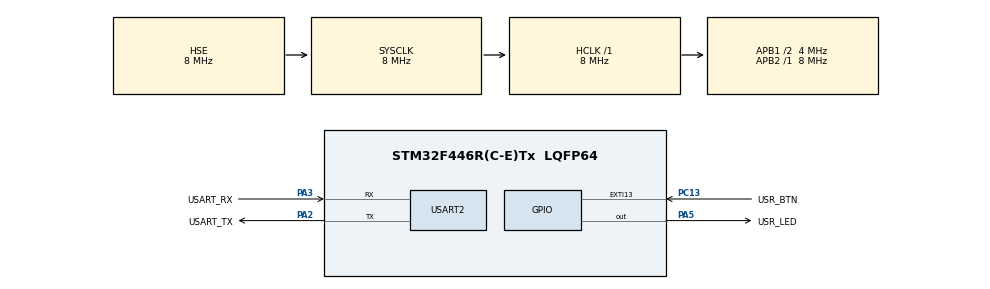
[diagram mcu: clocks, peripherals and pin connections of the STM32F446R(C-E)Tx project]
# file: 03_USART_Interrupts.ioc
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Mcu.Family=STM32F4
Mcu.Name=STM32F446R(C-E)Tx
Mcu.Package=LQFP64
NVIC.PriorityGroup=NVIC_PRIORITYGROUP_0
NVIC.USART2_IRQn=true\:0\:0\:false\:false\:true\:true\:true\:true
PA13.GPIO_Label=TMS
PA13.Mode=Serial_Wire
PA13.Signal=SYS_JTMS-SWDIO
PA14.GPIO_Label=TCK
PA14.Mode=Serial_Wire
PA14.Signal=SYS_JTCK-SWCLK
PA2.GPIO_Label=USART_TX
PA2.Mode=Asynchronous
PA2.Signal=USART2_TX
PA3.GPIO_Label=USART_RX
PA3.Mode=Asynchronous
PA3.Signal=USART2_RX
PA5.GPIO_Label=USR_LED
PA5.Signal=GPIO_Output
PB3.GPIO_Label=SWO
PB3.Signal=SYS_JTDO-SWO
PC13.GPIO_Label=USR_BTN
PC13.GPIO_ModeDefaultEXTI=GPIO_MODE_IT_FALLING
PC13.Signal=GPXTI13
PC14-OSC32_IN.Mode=LSE-External-Oscillator
PC14-OSC32_IN.Signal=RCC_OSC32_IN
PC15-OSC32_OUT.Mode=LSE-External-Oscillator
PC15-OSC32_OUT.Signal=RCC_OSC32_OUT
PH0-OSC_IN.Mode=HSE-External-Oscillator
PH0-OSC_IN.Signal=RCC_OSC_IN
PH1-OSC_OUT.Mode=HSE-External-Oscillator
PH1-OSC_OUT.Signal=RCC_OSC_OUT
ProjectManager.HeapSize=0x200
ProjectManager.StackSize=0x400
ProjectManager.TargetToolchain=STM32CubeIDE
RCC.48MHZClocksFreq_Value=84000000
RCC.AHBFreq_Value=8000000
RCC.APB1CLKDivider=RCC_HCLK_DIV2
RCC.APB1Freq_Value=4000000
RCC.APB1TimFreq_Value=8000000
RCC.APB2Freq_Value=8000000
RCC.APB2TimFreq_Value=8000000
RCC.CortexFreq_Value=8000000
RCC.EnbaleCSS=true
RCC.FLatency-AdvancedSettings=FLASH_LATENCY_0
RCC.HCLKFreq_Value=8000000
RCC.HSE_VALUE=8000000
RCC.HSI_VALUE=16000000
RCC.PLLN=336
RCC.PLLP=RCC_PLLP_DIV4
RCC.SYSCLKFreq_VALUE=8000000
RCC.SYSCLKSource=RCC_SYSCLKSOURCE_HSE
RCC.USBFreq_Value=168000000
RCC.VCOOutputFreq_Value=336000000
USART2.VirtualMode=VM_ASYNC
board=NUCLEO-F446RE

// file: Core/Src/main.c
/* USER CODE BEGIN Header */
/**
 ******************************************************************************
 * @file           : main.c
 * @brief          : Main program body
 ******************************************************************************
 * @attention
 *
 * Copyright (c) 2026 STMicroelectronics.
 * All rights reserved.
 *
 * This software is licensed under terms that can be found in the LICENSE file
 * in the root directory of this software component.
 * If no LICENSE file comes with this software, it is provided AS-IS.
 *
 ******************************************************************************
 *
 * Simple program to use USART to print on screen and blink LED on button press - all via interrupts
 */
/* USER CODE END Header */
#include "main.h"

UART_HandleTypeDef huart2;

/* USER CODE BEGIN PV */
int uart_ready = 0;
char name[200] = {'\0'};
/* USER CODE END PV */

void SystemClock_Config(void);
static void MX_GPIO_Init(void);
static void MX_USART2_UART_Init(void);
/* USER CODE BEGIN PFP */
int get_name(char *prompt, char *name);
void print_message(char *name);

/* USER CODE END PFP */

int main(void) {

	/* USER CODE BEGIN 1 */
	// The User will type in the name in the terminal (COM Port), which will then be sent over UART to STM32.
	// As soon as it detect an enter '', the name along with some greetings will be printed on the screen.
	char prompt[100] = "Name : ";
	/* USER CODE END 1 */

	/* MCU Configuration--------------------------------------------------------*/

	/* Reset of all peripherals, Initializes the Flash interface and the Systick. */
	HAL_Init();

	/* Configure the system clock */
	SystemClock_Config();

	/* Initialize all configured peripherals */
	MX_GPIO_Init();
	MX_USART2_UART_Init();

	/* Infinite loop */
	/* USER CODE BEGIN WHILE */
	while (1) {
		// Print the prompt for name and read the name
		if(get_name(prompt, name))
		{
			// Print the greetings along with the name
			print_message(name);
		}

		// Keep blinking the LED (better if done using timer interrupt)
		HAL_GPIO_TogglePin(USR_LED_GPIO_Port, USR_LED_Pin);
		HAL_Delay(5000);
		/* USER CODE END WHILE */

	}
}

void SystemClock_Config(void) {
	RCC_OscInitTypeDef RCC_OscInitStruct = { 0 };
	RCC_ClkInitTypeDef RCC_ClkInitStruct = { 0 };

	/** Configure the main internal regulator output voltage
	 */
	__HAL_RCC_PWR_CLK_ENABLE();
	__HAL_PWR_VOLTAGESCALING_CONFIG(PWR_REGULATOR_VOLTAGE_SCALE3);

	/** Initializes the RCC Oscillators according to the specified parameters
	 * in the RCC_OscInitTypeDef structure.
	 */
	RCC_OscInitStruct.OscillatorType = RCC_OSCILLATORTYPE_HSE;
	RCC_OscInitStruct.HSEState = RCC_HSE_ON;
	RCC_OscInitStruct.PLL.PLLState = RCC_PLL_NONE;
	if (HAL_RCC_OscConfig(&RCC_OscInitStruct) != HAL_OK) {
		Error_Handler();
	}

	/** Initializes the CPU, AHB and APB buses clocks
	 */
	RCC_ClkInitStruct.ClockType = RCC_CLOCKTYPE_HCLK | RCC_CLOCKTYPE_SYSCLK
			| RCC_CLOCKTYPE_PCLK1 | RCC_CLOCKTYPE_PCLK2;
	RCC_ClkInitStruct.SYSCLKSource = RCC_SYSCLKSOURCE_HSE;
	RCC_ClkInitStruct.AHBCLKDivider = RCC_SYSCLK_DIV1;
	RCC_ClkInitStruct.APB1CLKDivider = RCC_HCLK_DIV2;
	RCC_ClkInitStruct.APB2CLKDivider = RCC_HCLK_DIV1;

	if (HAL_RCC_ClockConfig(&RCC_ClkInitStruct, FLASH_LATENCY_0) != HAL_OK) {
		Error_Handler();
	}

	/** Enables the Clock Security System
	 */
	HAL_RCC_EnableCSS();
}

static void MX_USART2_UART_Init(void) {

	huart2.Instance = USART2;
	huart2.Init.BaudRate = 9600;
	huart2.Init.WordLength = UART_WORDLENGTH_8B;
	huart2.Init.StopBits = UART_STOPBITS_1;
	huart2.Init.Parity = UART_PARITY_NONE;
	huart2.Init.Mode = UART_MODE_TX_RX;
	huart2.Init.HwFlowCtl = UART_HWCONTROL_NONE;
	huart2.Init.OverSampling = UART_OVERSAMPLING_16;
	if (HAL_UART_Init(&huart2) != HAL_OK) {
		Error_Handler();
	}
	/* USER CODE BEGIN USART2_Init 2 */
	// Enable Interrupt Request Handler for USART2 and set it's priority.
	HAL_NVIC_SetPriority(USART2_IRQn, 0, 0);
	HAL_NVIC_EnableIRQ(USART2_IRQn);
	/* USER CODE END USART2_Init 2 */

}

static void MX_GPIO_Init(void) {
	GPIO_InitTypeDef GPIO_InitStruct = { 0 };

	/* GPIO Ports Clock Enable */
	__HAL_RCC_GPIOC_CLK_ENABLE();
	__HAL_RCC_GPIOH_CLK_ENABLE();
	__HAL_RCC_GPIOA_CLK_ENABLE();
	__HAL_RCC_GPIOB_CLK_ENABLE();

	/*Configure GPIO pin Output Level */
	HAL_GPIO_WritePin(USR_LED_GPIO_Port, USR_LED_Pin, GPIO_PIN_RESET);

	/*Configure GPIO pin : USR_BTN_Pin */
	GPIO_InitStruct.Pin = USR_BTN_Pin;
	GPIO_InitStruct.Mode = GPIO_MODE_IT_FALLING;
	GPIO_InitStruct.Pull = GPIO_NOPULL;
	HAL_GPIO_Init(USR_BTN_GPIO_Port, &GPIO_InitStruct);

	/*Configure GPIO pin : USR_LED_Pin */
	GPIO_InitStruct.Pin = USR_LED_Pin;
	GPIO_InitStruct.Mode = GPIO_MODE_OUTPUT_PP;
	GPIO_InitStruct.Pull = GPIO_NOPULL;
	GPIO_InitStruct.Speed = GPIO_SPEED_FREQ_LOW;
	HAL_GPIO_Init(USR_LED_GPIO_Port, &GPIO_InitStruct);

}

/* USER CODE BEGIN 4 */
// Get the name of the user via UART
// Returns 1 if 'enter' is entered i.e. user has finished entering name to prompt
int get_name(char *prompt) {

	// Clear the terminal screen and print the prompt
	HAL_UART_Transmit(&huart2, (uint8_t*) "\033[0;0H", strlen("\033[0;0H"), HAL_MAX_DELAY);
	HAL_UART_Transmit(&huart2, (uint8_t*) "\033[2J", strlen("\033[2J"), HAL_MAX_DELAY);
	HAL_UART_Transmit(&huart2, (uint8_t*) prompt, strlen(prompt), HAL_MAX_DELAY);	// HAL_MAX_DELAY states how long should the

	// Read the name from the terminal until user presses enter
	char read_ch[1];
	static int i = 0;

	// Using interrupts for receiving data via UART
	if(uart_ready == SET) uart_ready = RESET;
	HAL_UART_Receive_IT(&huart2, (uint8_t *) read_ch, 1);

	if(*read_ch == '\n' || *read_ch == '\r')
	{
		name[i] = '\0';
		return 1;
	}
	name[i++] = *read_ch;

	return 0;

	/*
	// Normal method of reading input from terminal without using interrupts (via polling)
	while (1) {
		// Receive each character and check if the received character is newline (enter pressed)
		HAL_UART_Receive(&huart2, (uint8_t*) read_ch, 1, HAL_MAX_DELAY);
		if ((*read_ch == '\n') || (*read_ch == '\r'))
			break;

		// Store the character into the name buffer
		name[i++] = *read_ch;

		// Since the user cannot see what they are typing we can echo the character back to the screen
		HAL_UART_Transmit(&huart2, (uint8_t*) read_ch, 1, HAL_MAX_DELAY);
	}

	name[i] = '\0';*/
}

// Print the greetings via UART
void print_message(char *name) {
	char message[500] = { '\0' };
	sprintf(message, "\r\n Hello from STM32, hope you are doing well %s \r\n",
			name);

	HAL_UART_Transmit(&huart2, (uint8_t*) message, strlen(message),
			HAL_MAX_DELAY);
}

// Call back function for UART2 IRQ Handler
void HAL_UART_RxCpltCallback(UART_HandleTypeDef *UartHandle) {
	uart_ready = SET;
}
/* USER CODE END 4 */

void Error_Handler(void) {
	__disable_irq();
	while (1) {
	}
}
